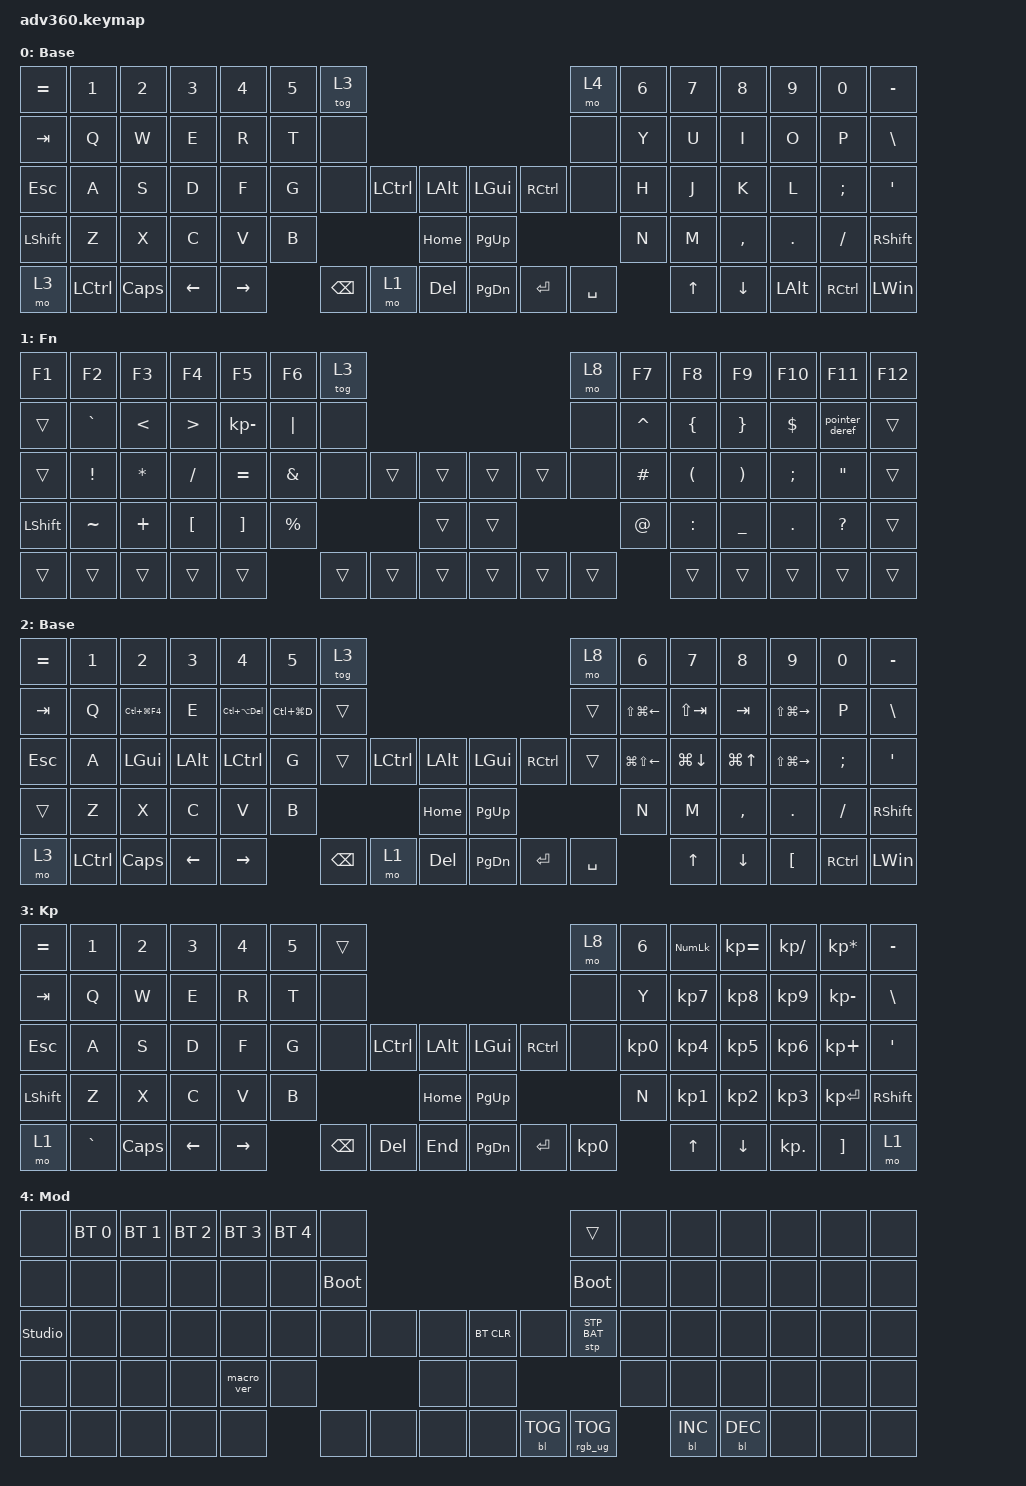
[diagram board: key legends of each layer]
#include <dt-bindings/zmk/stp.h>
#include <behaviors.dtsi>
#include <dt-bindings/zmk/backlight.h>
#include <dt-bindings/zmk/bt.h>
#include <dt-bindings/zmk/keys.h>
#include <dt-bindings/zmk/rgb.h>

/ {
    behaviors {
        #include "macros.dtsi"
      #include "version.dtsi"

        hm: homerow_mods {
            compatible = "zmk,behavior-hold-tap";
            label = "HOMEROW_MODS";
            #binding-cells = <2>;
            tapping-term-ms = <200>;
            quick_tap_ms = <175>;
            flavor = "tap-preferred";
            bindings = <&kp>, <&kp>;
        };
    };

    macros {
        pointer_deref: pointer_deref {
            compatible = "zmk,behavior-macro";
            #binding-cells = <0>;
            bindings = <&kp MINUS &kp GREATER_THAN>;
            label = "POINTER_DEREF";
        };
    };

    combos {
        compatible = "zmk,combos";

        NavLayer {
            bindings = <&mo 2>;
            key-positions = <66 46>;
            layers = <0 1>;
        };
    };

    keymap {
        compatible = "zmk,keymap";

        default_layer {
            display-name = "Base";
            bindings = <
&kp EQUAL  &kp N1     &kp N2    &kp N3    &kp N4     &kp N5  &tog 3                                                     &mo 4      &kp N6  &kp N7  &kp N8     &kp N9        &kp N0             &kp MINUS
&kp TAB    &kp Q      &kp W     &kp E     &kp R      &kp T   &none                                                      &none      &kp Y   &kp U   &kp I      &kp O         &kp P              &kp BSLH
&kp ESC    &kp A      &kp S     &kp D     &kp F      &kp G   &none     &kp LCTRL  &kp LALT        &kp LGUI   &kp RCTRL  &none      &kp H   &kp J   &kp K      &kp L         &kp SEMI           &kp SQT
&kp LSHFT  &kp Z      &kp X     &kp C     &kp V      &kp B                        &kp HOME        &kp PG_UP                        &kp N   &kp M   &kp COMMA  &kp DOT       &kp FSLH           &kp RSHFT
&mo 3      &kp LCTRL  &kp CAPS  &kp LEFT  &kp RIGHT          &kp BSPC  &mo 1      &kp DELETE      &kp PG_DN  &kp ENTER  &kp SPACE          &kp UP  &kp DOWN   &kp LEFT_ALT  &kp RIGHT_CONTROL  &kp LEFT_WIN
            >;
        };

        fn {
            display-name = "Fn";
            bindings = <
&kp F1          &kp F2     &kp F3         &kp F4            &kp F5             &kp F6       &tog 3                                      &mo 8   &kp F7     &kp F8                &kp F9                 &kp F10     &kp F11            &kp F12
&trans          &kp GRAVE  &kp LESS_THAN  &kp GREATER_THAN  &kp KP_MINUS       &kp PIPE     &none                                       &none   &kp CARET  &kp LEFT_BRACE        &kp RIGHT_BRACE        &kp DOLLAR  &pointer_deref     &trans
&trans          &kp EXCL   &kp STAR       &kp SLASH         &kp EQUAL          &kp AMPS     &none   &trans  &trans      &trans  &trans  &none   &kp HASH   &kp LEFT_PARENTHESIS  &kp RIGHT_PARENTHESIS  &kp SEMI    &kp DOUBLE_QUOTES  &trans
&kp LEFT_SHIFT  &kp TILDE  &kp PLUS       &kp LEFT_BRACKET  &kp RIGHT_BRACKET  &kp PERCENT                  &trans      &trans                  &kp AT     &kp COLON             &kp UNDER              &kp PERIOD  &kp QUESTION       &trans
&trans          &trans     &trans         &trans            &trans                          &trans  &trans  &trans      &trans  &trans  &trans             &trans                &trans                 &trans      &trans             &trans
            >;
        };

        NavLayer {
            display-name = "Base";
            bindings = <
&kp EQUAL  &kp N1     &kp N2          &kp N3        &kp N4              &kp N5         &tog 3                                                     &mo 8      &kp N6            &kp N7              &kp N8            &kp N9             &kp N0             &kp MINUS
&kp TAB    &kp Q      &kp LC(LG(F4))  &kp E         &kp LC(LA(DELETE))  &kp LC(LG(D))  &trans                                                     &trans     &kp LS(LG(LEFT))  &kp LS(TAB)         &kp TAB           &kp LS(LG(RIGHT))  &kp P              &kp BSLH
&kp ESC    &kp A      &kp LEFT_GUI    &kp LEFT_ALT  &kp LCTRL           &kp G          &trans    &kp LCTRL  &kp LALT        &kp LGUI   &kp RCTRL  &trans     &kp LG(LS(LEFT))  &kp LG(DOWN_ARROW)  &kp LG(UP_ARROW)  &kp LS(LG(RIGHT))  &kp SEMI           &kp SQT
&trans     &kp Z      &kp X           &kp C         &kp V               &kp B                               &kp HOME        &kp PG_UP                        &kp N             &kp M               &kp COMMA         &kp DOT            &kp FSLH           &kp RSHFT
&mo 3      &kp LCTRL  &kp CAPS        &kp LEFT      &kp RIGHT                          &kp BSPC  &mo 1      &kp DELETE      &kp PG_DN  &kp ENTER  &kp SPACE                    &kp UP              &kp DOWN          &kp LBKT           &kp RIGHT_CONTROL  &kp LEFT_WIN
            >;
        };

        keypad {
            display-name = "Kp";
            bindings = <
&kp EQUAL  &kp N1     &kp N2    &kp N3    &kp N4     &kp N5  &trans                                                   &mo 8      &kp N6     &kp KP_NUM  &kp KP_EQUAL  &kp KP_DIVIDE  &kp KP_MULTIPLY  &kp MINUS
&kp TAB    &kp Q      &kp W     &kp E     &kp R      &kp T   &none                                                    &none      &kp Y      &kp KP_N7   &kp KP_N8     &kp KP_N9      &kp KP_MINUS     &kp BSLH
&kp ESC    &kp A      &kp S     &kp D     &kp F      &kp G   &none     &kp LCTRL  &kp LALT      &kp LGUI   &kp RCTRL  &none      &kp KP_N0  &kp KP_N4   &kp KP_N5     &kp KP_N6      &kp KP_PLUS      &kp SQT
&kp LSHFT  &kp Z      &kp X     &kp C     &kp V      &kp B                        &kp HOME      &kp PG_UP                        &kp N      &kp KP_N1   &kp KP_N2     &kp KP_N3      &kp KP_ENTER     &kp RSHFT
&mo 1      &kp GRAVE  &kp CAPS  &kp LEFT  &kp RIGHT          &kp BSPC  &kp DEL    &kp END       &kp PG_DN  &kp ENTER  &kp KP_N0             &kp UP      &kp DOWN      &kp KP_DOT     &kp RBKT         &mo 1
            >;
        };

        mod {
            display-name = "Mod";
            bindings = <
&none           &bt BT_SEL 0  &bt BT_SEL 1  &bt BT_SEL 2  &bt BT_SEL 3  &bt BT_SEL 4  &none                                                  &trans           &none  &none       &none       &none  &none  &none
&none           &none         &none         &none         &none         &none         &bootloader                                            &bootloader      &none  &none       &none       &none  &none  &none
&studio_unlock  &none         &none         &none         &none         &none         &none        &none  &none      &bt BT_CLR  &none       &stp STP_BAT     &none  &none       &none       &none  &none  &none
&none           &none         &none         &none         &macro_ver    &none                             &none      &none                                    &none  &none       &none       &none  &none  &none
&none           &none         &none         &none         &none                       &none        &none  &none      &none       &bl BL_TOG  &rgb_ug RGB_TOG         &bl BL_INC  &bl BL_DEC  &none  &none  &none
            >;
        };

        extra1 {
            display-name = "Red";
            status = "reserved";
        };

        extra2 {
            display-name = "Purple";
            status = "reserved";
        };

        extra3 {
            display-name = "Cyan";
            status = "reserved";
        };

        extra4 {
            display-name = "Yellow";
            status = "reserved";
        };
    };
};
